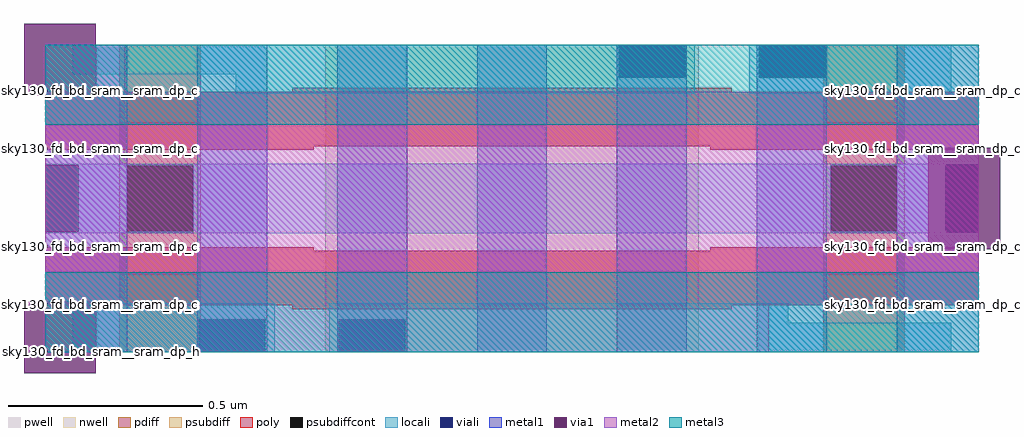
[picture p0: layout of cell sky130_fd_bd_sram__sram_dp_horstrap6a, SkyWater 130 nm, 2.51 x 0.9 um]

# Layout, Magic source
magic
tech sky130A
magscale 1 2
<< pdiff >>
rect 38 118 80 158
rect 400 118 442 158
rect 38 0 80 40
rect 400 0 442 40
<< metal2 >>
rect 41 0 372 24
use sky130_fd_bd_sram__sram_dp_horstrap_p1m_siz  sky130_fd_bd_sram__sram_dp_horstrap_p1m_siz_0
transform 1 0 0 0 1 0
box 0 24 480 135
use sky130_fd_bd_sram__sram_dp_horstrap_npsdm  sky130_fd_bd_sram__sram_dp_horstrap_npsdm_0
transform 1 0 0 0 1 0
box 0 0 1 1
use sky130_fd_bd_sram__sram_dp_horstrap_half5  sky130_fd_bd_sram__sram_dp_horstrap_half5_0
transform 1 0 0 0 1 0
box -11 -11 240 169
use sky130_fd_bd_sram__sram_dp_horstrap_limcon  sky130_fd_bd_sram__sram_dp_horstrap_limcon_0
transform 1 0 0 0 -1 158
box 14 0 466 158
use sky130_fd_bd_sram__sram_dp_horstrap_half1  sky130_fd_bd_sram__sram_dp_horstrap_half1_0
transform -1 0 480 0 1 0
box -11 0 240 158
<< properties >>
string GDS_FILE sky130_fd_bd_sram__sram_dp_horstrap6a.gds
string GDS_END 6674
string GDS_START 6186
<< end >>

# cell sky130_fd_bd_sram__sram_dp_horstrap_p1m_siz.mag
magic
tech sky130A
magscale 1 2
use sky130_fd_bd_sram__sram_dp_cell_half_poly_siz_opta  sky130_fd_bd_sram__sram_dp_cell_half_poly_siz_opta_0
transform 1 0 0 0 1 134
box 0 0 1 1
use sky130_fd_bd_sram__sram_dp_cell_half_poly_siz_opta  sky130_fd_bd_sram__sram_dp_cell_half_poly_siz_opta_1
transform -1 0 480 0 1 134
box 0 0 1 1
use sky130_fd_bd_sram__sram_dp_cell_half_poly_siz_optb  sky130_fd_bd_sram__sram_dp_cell_half_poly_siz_optb_0
transform 1 0 0 0 1 104
box 0 0 1 1
use sky130_fd_bd_sram__sram_dp_cell_half_poly_siz_optb  sky130_fd_bd_sram__sram_dp_cell_half_poly_siz_optb_1
transform -1 0 480 0 1 104
box 0 0 1 1
use sky130_fd_bd_sram__sram_dp_cell_half_poly_siz_optc  sky130_fd_bd_sram__sram_dp_cell_half_poly_siz_optc_0
transform 1 0 0 0 1 54
box 0 0 1 1
use sky130_fd_bd_sram__sram_dp_cell_half_poly_siz_optc  sky130_fd_bd_sram__sram_dp_cell_half_poly_siz_optc_1
transform -1 0 480 0 1 54
box 0 0 1 1
use sky130_fd_bd_sram__sram_dp_cell_half_poly_siz_optd  sky130_fd_bd_sram__sram_dp_cell_half_poly_siz_optd_0
transform 1 0 0 0 1 24
box 0 0 1 1
use sky130_fd_bd_sram__sram_dp_cell_half_poly_siz_optd  sky130_fd_bd_sram__sram_dp_cell_half_poly_siz_optd_1
transform -1 0 480 0 1 24
box 0 0 1 1
<< properties >>
string GDS_FILE sky130_fd_bd_sram__sram_dp_horstrap_p1m_siz.gds
string GDS_END 2022
string GDS_START 1354
<< end >>

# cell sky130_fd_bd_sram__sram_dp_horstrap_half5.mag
magic
tech sky130A
magscale 1 2
<< pdiff >>
rect 38 118 80 158
rect 38 0 80 40
<< viali >>
rect 0 62 17 96
<< metal1 >>
rect 26 132 42 158
rect 0 117 42 132
rect 0 26 42 41
rect 26 0 42 26
<< via1 >>
rect -11 132 26 169
rect -11 -11 26 26
<< metal2 >>
rect 26 132 41 158
rect 0 26 41 132
rect 26 0 41 26
use sky130_fd_bd_sram__sram_dp_horstrap_half  sky130_fd_bd_sram__sram_dp_horstrap_half_0
transform 1 0 0 0 1 0
box 0 0 240 158
<< properties >>
string GDS_FILE sky130_fd_bd_sram__sram_dp_horstrap_half5.gds
string GDS_END 2424
string GDS_START 1908
<< end >>

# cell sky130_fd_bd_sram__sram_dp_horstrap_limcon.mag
magic
tech sky130A
magscale 1 2
use sky130_fd_bd_sram__sram_dp_horstrap_mcon  sky130_fd_bd_sram__sram_dp_horstrap_mcon_0
transform -1 0 480 0 -1 158
box 295 0 401 17
use sky130_fd_bd_sram__sram_dp_horstrap_mcon  sky130_fd_bd_sram__sram_dp_horstrap_mcon_1
transform 1 0 0 0 1 0
box 295 0 401 17
use sky130_fd_bd_sram__sram_dp_horstrap_li  sky130_fd_bd_sram__sram_dp_horstrap_li_0
transform 1 0 0 0 1 0
box 14 0 466 25
use sky130_fd_bd_sram__sram_dp_horstrap_li  sky130_fd_bd_sram__sram_dp_horstrap_li_1
transform -1 0 480 0 -1 158
box 14 0 466 25
<< properties >>
string GDS_FILE sky130_fd_bd_sram__sram_dp_horstrap_limcon.gds
string GDS_END 952
string GDS_START 660
<< end >>

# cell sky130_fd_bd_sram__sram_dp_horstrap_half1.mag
magic
tech sky130A
magscale 1 2
<< pdiff >>
rect 38 118 80 158
rect 38 0 80 40
<< viali >>
rect 0 62 17 96
<< metal1 >>
rect 0 117 42 158
rect 0 0 42 41
<< via1 >>
rect -11 96 26 105
rect -11 62 0 96
rect 0 62 17 96
rect 17 62 26 96
rect -11 53 26 62
use sky130_fd_bd_sram__sram_dp_horstrap_half  sky130_fd_bd_sram__sram_dp_horstrap_half_0
transform 1 0 0 0 1 0
box 0 0 240 158
<< properties >>
string GDS_FILE sky130_fd_bd_sram__sram_dp_horstrap_half1.gds
string GDS_END 2296
string GDS_START 1908
<< end >>

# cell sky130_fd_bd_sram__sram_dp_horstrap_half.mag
magic
tech sky130A
magscale 1 2
<< pdiff >>
rect 38 118 80 158
rect 38 0 80 40
<< viali >>
rect 0 62 17 96
<< metal1 >>
rect 0 96 42 117
rect 17 62 42 96
rect 0 41 42 62
rect 78 0 114 158
rect 150 0 186 158
rect 222 0 240 158
<< metal2 >>
rect 0 24 240 134
use sky130_fd_bd_sram__sram_dp_horstrap_h  sky130_fd_bd_sram__sram_dp_horstrap_h_0
transform 1 0 0 0 1 0
box 0 0 240 158
<< properties >>
string GDS_FILE sky130_fd_bd_sram__sram_dp_horstrap_half.gds
string GDS_END 1832
string GDS_START 1382
<< end >>

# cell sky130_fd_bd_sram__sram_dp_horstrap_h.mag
magic
tech sky130A
magscale 1 2
<< nwell >>
rect 144 0 240 158
<< pwell >>
rect 38 40 80 118
<< pdiff >>
rect 38 118 80 158
rect 38 0 80 40
<< psubdiff >>
rect 38 96 80 118
rect 38 62 42 96
rect 76 62 80 96
rect 38 40 80 62
<< psubdiffcont >>
rect 42 62 76 96
<< locali >>
rect 0 96 240 97
rect 0 62 42 96
rect 76 62 240 96
rect 0 61 240 62
<< metal3 >>
rect 0 117 240 158
rect 0 0 240 41
use sky130_fd_bd_sram__sram_dp_cell_half_wl  sky130_fd_bd_sram__sram_dp_cell_half_wl_0
transform 1 0 0 0 -1 134
box 0 -2 240 30
use sky130_fd_bd_sram__sram_dp_cell_half_wl  sky130_fd_bd_sram__sram_dp_cell_half_wl_1
transform 1 0 0 0 1 24
box 0 -2 240 30
<< properties >>
string GDS_FILE sky130_fd_bd_sram__sram_dp_horstrap_h.gds
string GDS_END 1308
string GDS_START 338
<< end >>

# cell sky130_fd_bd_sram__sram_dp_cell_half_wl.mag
magic
tech sky130A
magscale 1 2
<< poly >>
rect 0 28 138 30
rect 0 0 240 28
rect 127 -2 240 0
<< properties >>
string GDS_FILE sky130_fd_bd_sram__sram_dp_cell_half_wl.gds
string GDS_END 270
string GDS_START 170
<< end >>

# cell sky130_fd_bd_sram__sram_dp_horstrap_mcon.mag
magic
tech sky130A
magscale 1 2
<< viali >>
rect 295 0 329 17
rect 367 0 401 17
<< properties >>
string GDS_FILE sky130_fd_bd_sram__sram_dp_horstrap_mcon.gds
string GDS_END 302
string GDS_START 170
<< end >>

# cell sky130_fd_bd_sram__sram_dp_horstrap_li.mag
magic
tech sky130A
magscale 1 2
<< locali >>
rect 98 15 334 25
rect 14 0 334 15
rect 362 0 466 25
<< properties >>
string GDS_FILE sky130_fd_bd_sram__sram_dp_horstrap_li.gds
string GDS_END 378
string GDS_START 166
<< end >>
